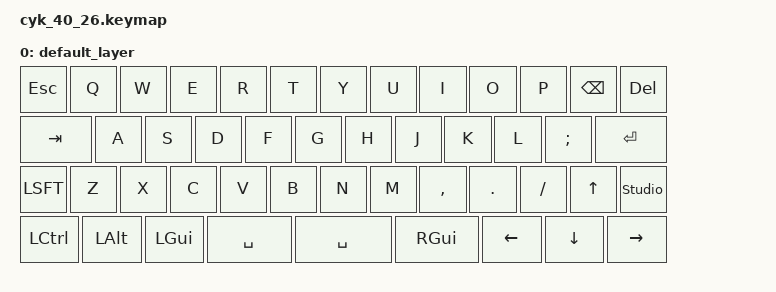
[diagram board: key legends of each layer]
#include <behaviors.dtsi>
#include <dt-bindings/zmk/keys.h>

/ {
    keymap {
        compatible = "zmk,keymap";

        default_layer {
            bindings = <
                &kp ESC   &kp Q &kp W &kp E &kp R &kp T &kp Y &kp U  &kp I    &kp O   &kp P    &kp BSPC &kp DEL
                &kp TAB         &kp A &kp S &kp D &kp F &kp G &kp H  &kp J    &kp K   &kp L    &kp SEMI &kp RET
                &kp LSFT  &kp Z &kp X &kp C &kp V &kp B &kp N &kp M  &kp COMMA &kp DOT &kp FSLH &kp UP   &studio_unlock
                &kp LCTRL       &kp LALT &kp LGUI &kp SPACE   &kp SPACE       &kp RGUI         &kp LEFT &kp DOWN &kp RIGHT
            >;
        };

        extra_layer_1 {
            status = "reserved";
        };

        extra_layer_2 {
            status = "reserved";
        };

        extra_layer_3 {
            status = "reserved";
        };

        extra_layer_4 {
            status = "reserved";
        };
    };
};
